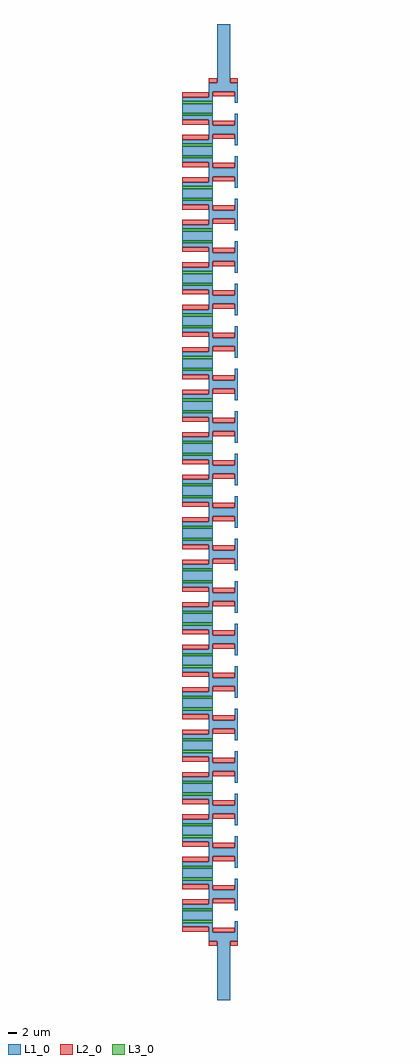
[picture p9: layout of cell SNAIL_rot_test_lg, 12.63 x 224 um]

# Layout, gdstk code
import gdstk
lib = gdstk.Library(unit=1e-6, precision=1e-09)
def R(c, l, rs):  # rectangles x0, y0, x1, y1
    for r in rs: c.add(gdstk.rectangle(r[:2], r[2:], *l))
def A(c, l, x, y, w, h, nx, ny, dx, dy):  # array of equal rectangles
    R(c, l, [(x+i*dx, y+j*dy, x+i*dx+w, y+j*dy+h) for i in range(nx) for j in range(ny)])
def P(c, l, *ps):  # polygons
    for p in ps: c.add(gdstk.Polygon(p, *l))
L1_0 = (1, 0)
L2_0 = (2, 0)
L3_0 = (3, 0)

snail_rot_test_lg = lib.new_cell('SNAIL_rot_test_lg')
A(snail_rot_test_lg, L1_0, -9.5, -93.725, 7, 2.2, 1, 20, 0, 9.75)
R(snail_rot_test_lg, L1_0, [(-1.5,-112,1.5,-98.5), (-1.5,98.5,1.5,112)])
P(snail_rot_test_lg, L1_0, [(3.13,-98.5),(-3.5,-98.5),(-3.5,-95.225),(-9.5,-95.225),(-9.5,-94.225),(-2.5,-94.225),(-2.5,-96.5),(2.5,-96.5),(2.5,-93.875),(3.13,-93.875),(3.13,-94.875),(3.13,-94.875)],
  [(3.13,-87.75),(-3.5,-87.75),(-3.5,-90.025),(-9.5,-90.025),(-9.5,-91.025),(-2.5,-91.025),(-2.5,-88.75),(2.5,-88.75),(2.5,-91.375),(3.13,-91.375),(3.13,-90.375),(3.13,-90.375)],
  [(3.13,-87.75),(-3.5,-87.75),(-3.5,-85.475),(-9.5,-85.475),(-9.5,-84.475),(-2.5,-84.475),(-2.5,-86.75),(2.5,-86.75),(2.5,-84.125),(3.13,-84.125),(3.13,-85.125),(3.13,-85.125)],
  [(3.13,-78),(-3.5,-78),(-3.5,-80.275),(-9.5,-80.275),(-9.5,-81.275),(-2.5,-81.275),(-2.5,-79),(2.5,-79),(2.5,-81.625),(3.13,-81.625),(3.13,-80.625),(3.13,-80.625)],
  [(3.13,-78),(-3.5,-78),(-3.5,-75.725),(-9.5,-75.725),(-9.5,-74.725),(-2.5,-74.725),(-2.5,-77),(2.5,-77),(2.5,-74.375),(3.13,-74.375),(3.13,-75.375),(3.13,-75.375)],
  [(3.13,-68.25),(-3.5,-68.25),(-3.5,-70.525),(-9.5,-70.525),(-9.5,-71.525),(-2.5,-71.525),(-2.5,-69.25),(2.5,-69.25),(2.5,-71.875),(3.13,-71.875),(3.13,-70.875),(3.13,-70.875)],
  [(3.13,-68.25),(-3.5,-68.25),(-3.5,-65.975),(-9.5,-65.975),(-9.5,-64.975),(-2.5,-64.975),(-2.5,-67.25),(2.5,-67.25),(2.5,-64.625),(3.13,-64.625),(3.13,-65.625),(3.13,-65.625)],
  [(3.13,-58.5),(-3.5,-58.5),(-3.5,-60.775),(-9.5,-60.775),(-9.5,-61.775),(-2.5,-61.775),(-2.5,-59.5),(2.5,-59.5),(2.5,-62.125),(3.13,-62.125),(3.13,-61.125),(3.13,-61.125)],
  [(3.13,-58.5),(-3.5,-58.5),(-3.5,-56.225),(-9.5,-56.225),(-9.5,-55.225),(-2.5,-55.225),(-2.5,-57.5),(2.5,-57.5),(2.5,-54.875),(3.13,-54.875),(3.13,-55.875),(3.13,-55.875)],
  [(3.13,-48.75),(-3.5,-48.75),(-3.5,-51.025),(-9.5,-51.025),(-9.5,-52.025),(-2.5,-52.025),(-2.5,-49.75),(2.5,-49.75),(2.5,-52.375),(3.13,-52.375),(3.13,-51.375),(3.13,-51.375)],
  [(3.13,-48.75),(-3.5,-48.75),(-3.5,-46.475),(-9.5,-46.475),(-9.5,-45.475),(-2.5,-45.475),(-2.5,-47.75),(2.5,-47.75),(2.5,-45.125),(3.13,-45.125),(3.13,-46.125),(3.13,-46.125)],
  [(3.13,-39),(-3.5,-39),(-3.5,-41.275),(-9.5,-41.275),(-9.5,-42.275),(-2.5,-42.275),(-2.5,-40),(2.5,-40),(2.5,-42.625),(3.13,-42.625),(3.13,-41.625),(3.13,-41.625)],
  [(3.13,-39),(-3.5,-39),(-3.5,-36.725),(-9.5,-36.725),(-9.5,-35.725),(-2.5,-35.725),(-2.5,-38),(2.5,-38),(2.5,-35.375),(3.13,-35.375),(3.13,-36.375),(3.13,-36.375)],
  [(3.13,-29.25),(-3.5,-29.25),(-3.5,-31.525),(-9.5,-31.525),(-9.5,-32.525),(-2.5,-32.525),(-2.5,-30.25),(2.5,-30.25),(2.5,-32.875),(3.13,-32.875),(3.13,-31.875),(3.13,-31.875)],
  [(3.13,-29.25),(-3.5,-29.25),(-3.5,-26.975),(-9.5,-26.975),(-9.5,-25.975),(-2.5,-25.975),(-2.5,-28.25),(2.5,-28.25),(2.5,-25.625),(3.13,-25.625),(3.13,-26.625),(3.13,-26.625)],
  [(3.13,-19.5),(-3.5,-19.5),(-3.5,-21.775),(-9.5,-21.775),(-9.5,-22.775),(-2.5,-22.775),(-2.5,-20.5),(2.5,-20.5),(2.5,-23.125),(3.13,-23.125),(3.13,-22.125),(3.13,-22.125)],
  [(3.13,-19.5),(-3.5,-19.5),(-3.5,-17.225),(-9.5,-17.225),(-9.5,-16.225),(-2.5,-16.225),(-2.5,-18.5),(2.5,-18.5),(2.5,-15.875),(3.13,-15.875),(3.13,-16.875),(3.13,-16.875)],
  [(3.13,-9.75),(-3.5,-9.75),(-3.5,-12.025),(-9.5,-12.025),(-9.5,-13.025),(-2.5,-13.025),(-2.5,-10.75),(2.5,-10.75),(2.5,-13.375),(3.13,-13.375),(3.13,-12.375),(3.13,-12.375)],
  [(3.13,-9.75),(-3.5,-9.75),(-3.5,-7.475),(-9.5,-7.475),(-9.5,-6.475),(-2.5,-6.475),(-2.5,-8.75),(2.5,-8.75),(2.5,-6.125),(3.13,-6.125),(3.13,-7.125),(3.13,-7.125)],
  [(3.13,0),(-3.5,0),(-3.5,-2.275),(-9.5,-2.275),(-9.5,-3.275),(-2.5,-3.275),(-2.5,-1),(2.5,-1),(2.5,-3.625),(3.13,-3.625),(3.13,-2.625),(3.13,-2.625)],
  [(3.13,0),(-3.5,0),(-3.5,2.275),(-9.5,2.275),(-9.5,3.275),(-2.5,3.275),(-2.5,1),(2.5,1),(2.5,3.625),(3.13,3.625),(3.13,2.625),(3.13,2.625)],
  [(3.13,9.75),(-3.5,9.75),(-3.5,7.475),(-9.5,7.475),(-9.5,6.475),(-2.5,6.475),(-2.5,8.75),(2.5,8.75),(2.5,6.125),(3.13,6.125),(3.13,7.125),(3.13,7.125)],
  [(3.13,9.75),(-3.5,9.75),(-3.5,12.025),(-9.5,12.025),(-9.5,13.025),(-2.5,13.025),(-2.5,10.75),(2.5,10.75),(2.5,13.375),(3.13,13.375),(3.13,12.375),(3.13,12.375)],
  [(3.13,19.5),(-3.5,19.5),(-3.5,17.225),(-9.5,17.225),(-9.5,16.225),(-2.5,16.225),(-2.5,18.5),(2.5,18.5),(2.5,15.875),(3.13,15.875),(3.13,16.875),(3.13,16.875)],
  [(3.13,19.5),(-3.5,19.5),(-3.5,21.775),(-9.5,21.775),(-9.5,22.775),(-2.5,22.775),(-2.5,20.5),(2.5,20.5),(2.5,23.125),(3.13,23.125),(3.13,22.125),(3.13,22.125)],
  [(3.13,29.25),(-3.5,29.25),(-3.5,26.975),(-9.5,26.975),(-9.5,25.975),(-2.5,25.975),(-2.5,28.25),(2.5,28.25),(2.5,25.625),(3.13,25.625),(3.13,26.625),(3.13,26.625)],
  [(3.13,29.25),(-3.5,29.25),(-3.5,31.525),(-9.5,31.525),(-9.5,32.525),(-2.5,32.525),(-2.5,30.25),(2.5,30.25),(2.5,32.875),(3.13,32.875),(3.13,31.875),(3.13,31.875)],
  [(3.13,39),(-3.5,39),(-3.5,36.725),(-9.5,36.725),(-9.5,35.725),(-2.5,35.725),(-2.5,38),(2.5,38),(2.5,35.375),(3.13,35.375),(3.13,36.375),(3.13,36.375)],
  [(3.13,39),(-3.5,39),(-3.5,41.275),(-9.5,41.275),(-9.5,42.275),(-2.5,42.275),(-2.5,40),(2.5,40),(2.5,42.625),(3.13,42.625),(3.13,41.625),(3.13,41.625)],
  [(3.13,48.75),(-3.5,48.75),(-3.5,46.475),(-9.5,46.475),(-9.5,45.475),(-2.5,45.475),(-2.5,47.75),(2.5,47.75),(2.5,45.125),(3.13,45.125),(3.13,46.125),(3.13,46.125)],
  [(3.13,48.75),(-3.5,48.75),(-3.5,51.025),(-9.5,51.025),(-9.5,52.025),(-2.5,52.025),(-2.5,49.75),(2.5,49.75),(2.5,52.375),(3.13,52.375),(3.13,51.375),(3.13,51.375)],
  [(3.13,58.5),(-3.5,58.5),(-3.5,56.225),(-9.5,56.225),(-9.5,55.225),(-2.5,55.225),(-2.5,57.5),(2.5,57.5),(2.5,54.875),(3.13,54.875),(3.13,55.875),(3.13,55.875)],
  [(3.13,58.5),(-3.5,58.5),(-3.5,60.775),(-9.5,60.775),(-9.5,61.775),(-2.5,61.775),(-2.5,59.5),(2.5,59.5),(2.5,62.125),(3.13,62.125),(3.13,61.125),(3.13,61.125)],
  [(3.13,68.25),(-3.5,68.25),(-3.5,65.975),(-9.5,65.975),(-9.5,64.975),(-2.5,64.975),(-2.5,67.25),(2.5,67.25),(2.5,64.625),(3.13,64.625),(3.13,65.625),(3.13,65.625)],
  [(3.13,68.25),(-3.5,68.25),(-3.5,70.525),(-9.5,70.525),(-9.5,71.525),(-2.5,71.525),(-2.5,69.25),(2.5,69.25),(2.5,71.875),(3.13,71.875),(3.13,70.875),(3.13,70.875)],
  [(3.13,78),(-3.5,78),(-3.5,75.725),(-9.5,75.725),(-9.5,74.725),(-2.5,74.725),(-2.5,77),(2.5,77),(2.5,74.375),(3.13,74.375),(3.13,75.375),(3.13,75.375)],
  [(3.13,78),(-3.5,78),(-3.5,80.275),(-9.5,80.275),(-9.5,81.275),(-2.5,81.275),(-2.5,79),(2.5,79),(2.5,81.625),(3.13,81.625),(3.13,80.625),(3.13,80.625)],
  [(3.13,87.75),(-3.5,87.75),(-3.5,85.475),(-9.5,85.475),(-9.5,84.475),(-2.5,84.475),(-2.5,86.75),(2.5,86.75),(2.5,84.125),(3.13,84.125),(3.13,85.125),(3.13,85.125)],
  [(3.13,87.75),(-3.5,87.75),(-3.5,90.025),(-9.5,90.025),(-9.5,91.025),(-2.5,91.025),(-2.5,88.75),(2.5,88.75),(2.5,91.375),(3.13,91.375),(3.13,90.375),(3.13,90.375)],
  [(3.13,98.5),(-3.5,98.5),(-3.5,95.225),(-9.5,95.225),(-9.5,94.225),(-2.5,94.225),(-2.5,96.5),(2.5,96.5),(2.5,93.875),(3.13,93.875),(3.13,94.875),(3.13,94.875)])
R(snail_rot_test_lg, L2_0, [(-3.5,-99.6,-1.5,-98.5), (1.5,-99.6,3.13,-98.5), (-2.5,-96.5,2.5,-95.4), (-9.5,-96.325,-3.5,-95.225), (-9.5,-90.025,-3.5,-88.925), (-2.5,-89.85,2.5,-88.75), (-2.5,-86.75,2.5,-85.65), (-9.5,-86.575,-3.5,-85.475), (-9.5,-80.275,-3.5,-79.175), (-2.5,-80.1,2.5,-79), (-2.5,-77,2.5,-75.9), (-9.5,-76.825,-3.5,-75.725), (-9.5,-70.525,-3.5,-69.425), (-2.5,-70.35,2.5,-69.25), (-2.5,-67.25,2.5,-66.15), (-9.5,-67.075,-3.5,-65.975), (-9.5,-60.775,-3.5,-59.675), (-2.5,-60.6,2.5,-59.5), (-2.5,-57.5,2.5,-56.4), (-9.5,-57.325,-3.5,-56.225), (-9.5,-51.025,-3.5,-49.925), (-2.5,-50.85,2.5,-49.75), (-2.5,-47.75,2.5,-46.65), (-9.5,-47.575,-3.5,-46.475), (-9.5,-41.275,-3.5,-40.175), (-2.5,-41.1,2.5,-40), (-2.5,-38,2.5,-36.9), (-9.5,-37.825,-3.5,-36.725), (-9.5,-31.525,-3.5,-30.425), (-2.5,-31.35,2.5,-30.25), (-2.5,-28.25,2.5,-27.15), (-9.5,-28.075,-3.5,-26.975), (-9.5,-21.775,-3.5,-20.675), (-2.5,-21.6,2.5,-20.5), (-2.5,-18.5,2.5,-17.4), (-9.5,-18.325,-3.5,-17.225), (-9.5,-12.025,-3.5,-10.925), (-2.5,-11.85,2.5,-10.75), (-2.5,-8.75,2.5,-7.65), (-9.5,-8.575,-3.5,-7.475), (-9.5,-2.275,-3.5,-1.175), (-2.5,-2.1,2.5,-1), (-2.5,1,2.5,2.1), (-9.5,1.175,-3.5,2.275), (-9.5,7.475,-3.5,8.575), (-2.5,7.65,2.5,8.75), (-2.5,10.75,2.5,11.85), (-9.5,10.925,-3.5,12.025), (-9.5,17.225,-3.5,18.325), (-2.5,17.4,2.5,18.5), (-2.5,20.5,2.5,21.6), (-9.5,20.675,-3.5,21.775), (-9.5,26.975,-3.5,28.075), (-2.5,27.15,2.5,28.25), (-2.5,30.25,2.5,31.35), (-9.5,30.425,-3.5,31.525), (-9.5,36.725,-3.5,37.825), (-2.5,36.9,2.5,38), (-2.5,40,2.5,41.1), (-9.5,40.175,-3.5,41.275), (-9.5,46.475,-3.5,47.575), (-2.5,46.65,2.5,47.75), (-2.5,49.75,2.5,50.85), (-9.5,49.925,-3.5,51.025), (-9.5,56.225,-3.5,57.325), (-2.5,56.4,2.5,57.5), (-2.5,59.5,2.5,60.6), (-9.5,59.675,-3.5,60.775), (-9.5,65.975,-3.5,67.075), (-2.5,66.15,2.5,67.25), (-2.5,69.25,2.5,70.35), (-9.5,69.425,-3.5,70.525), (-9.5,75.725,-3.5,76.825), (-2.5,75.9,2.5,77), (-2.5,79,2.5,80.1), (-9.5,79.175,-3.5,80.275), (-9.5,85.475,-3.5,86.575), (-2.5,85.65,2.5,86.75), (-2.5,88.75,2.5,89.85), (-9.5,88.925,-3.5,90.025), (-9.5,95.225,-3.5,96.325), (-2.5,95.4,2.5,96.5), (-3.5,98.5,-1.5,99.6), (1.5,98.5,3.13,99.6)])
R(snail_rot_test_lg, L3_0, [(-9.5,-94.225,-2.5,-93.725), (-9.5,-91.525,-2.5,-91.025), (-9.5,-84.475,-2.5,-83.975), (-9.5,-81.775,-2.5,-81.275), (-9.5,-74.725,-2.5,-74.225), (-9.5,-72.025,-2.5,-71.525), (-9.5,-64.975,-2.5,-64.475), (-9.5,-62.275,-2.5,-61.775), (-9.5,-55.225,-2.5,-54.725), (-9.5,-52.525,-2.5,-52.025), (-9.5,-45.475,-2.5,-44.975), (-9.5,-42.775,-2.5,-42.275), (-9.5,-35.725,-2.5,-35.225), (-9.5,-33.025,-2.5,-32.525), (-9.5,-25.975,-2.5,-25.475), (-9.5,-23.275,-2.5,-22.775), (-9.5,-16.225,-2.5,-15.725), (-9.5,-13.525,-2.5,-13.025), (-9.5,-6.475,-2.5,-5.975), (-9.5,-3.775,-2.5,-3.275), (-9.5,3.275,-2.5,3.775), (-9.5,5.975,-2.5,6.475), (-9.5,13.025,-2.5,13.525), (-9.5,15.725,-2.5,16.225), (-9.5,22.775,-2.5,23.275), (-9.5,25.475,-2.5,25.975), (-9.5,32.525,-2.5,33.025), (-9.5,35.225,-2.5,35.725), (-9.5,42.275,-2.5,42.775), (-9.5,44.975,-2.5,45.475), (-9.5,52.025,-2.5,52.525), (-9.5,54.725,-2.5,55.225), (-9.5,61.775,-2.5,62.275), (-9.5,64.475,-2.5,64.975), (-9.5,71.525,-2.5,72.025), (-9.5,74.225,-2.5,74.725), (-9.5,81.275,-2.5,81.775), (-9.5,83.975,-2.5,84.475), (-9.5,91.025,-2.5,91.525), (-9.5,93.725,-2.5,94.225)])

lib.write_gds('SNAIL_rot_test_lg.gds')
